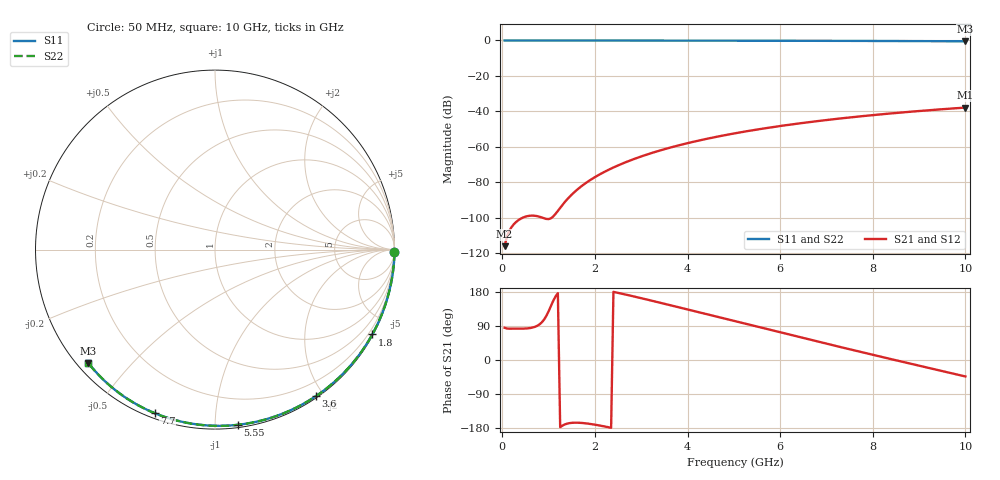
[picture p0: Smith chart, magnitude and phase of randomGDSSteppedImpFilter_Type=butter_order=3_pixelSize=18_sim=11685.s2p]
! freq	dB(S11)	phase(S11)	dB(S12)	phase(S12)
!  dB(S21)	phase(S21)	dB(S22)	phase(S22)
!S-par simulation data
#  GHz  S  DB  R 50
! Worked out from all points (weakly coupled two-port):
!   200 points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, 50 MHz to 10 GHz, reference 50 ohm
!   highest |S21| = -37.88 dB at 10 GHz (marker M1); lowest = -116.1 dB at 50 MHz (marker M2)
!   lowest |S11| = -0.5 dB at 10 GHz (marker M3), VSWR 37.05, Z = 1.55 - j19.1 ohm
!   |S11| at or under -10 dB: nowhere
!   |S22| runs from -0.5 to 0.0 dB; largest |S21 - S12| = 0
!   S11 on the Smith chart (normalised r, x): 50 MHz: open; 1.8 GHz: 0.03, -3.96; 3.6 GHz: 0.02, -1.91; 5.55 GHz: 0.02, -1.14; 7.7 GHz: 0.02, -0.70; 10 GHz: 0.03, -0.38
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0.05  -0.00 -0.8  -116.14 85.1  -116.14 85.1  -0.00 -0.8
0.45  -0.01 -7.2  -99.95 82.8  -99.95 82.8  -0.01 -7.2
0.9  -0.02 -14.3  -100.39 106.2  -100.39 106.2  -0.02 -14.3
1.75  -0.04 -27.6  -81.50 -166.5  -81.50 -166.5  -0.04 -27.6
1.8  -0.04 -28.3  -80.55 -167.1  -80.55 -167.1  -0.04 -28.3
1.85  -0.04 -29.1  -79.66 -167.9  -79.66 -167.9  -0.04 -29.1
2.05  -0.04 -32.2  -76.41 -171.7  -76.41 -171.7  -0.04 -32.2
2.25  -0.05 -35.2  -73.59 -176.4  -73.59 -176.4  -0.05 -35.2
2.55  -0.05 -39.8  -69.97 175.8  -69.97 175.8  -0.05 -39.8
2.95  -0.06 -45.8  -65.94 164.6  -65.94 164.6  -0.06 -45.8
3.4  -0.07 -52.4  -62.15 151.4  -62.15 151.4  -0.07 -52.4
3.6  -0.07 -55.4  -60.67 145.4  -60.67 145.4  -0.07 -55.4
3.9  -0.08 -59.7  -58.62 136.4  -58.62 136.4  -0.08 -59.7
4.3  -0.09 -65.4  -56.18 124.3  -56.18 124.3  -0.09 -65.4
5.05  -0.12 -75.8  -52.29 101.5  -52.29 101.5  -0.12 -75.8
5.55  -0.14 -82.6  -50.09 86.4  -50.09 86.4  -0.14 -82.6
6.1  -0.16 -89.9  -47.94 69.9  -47.94 69.9  -0.16 -89.9
6.7  -0.19 -97.7  -45.87 52.0  -45.87 52.0  -0.19 -97.7
7.7  -0.25 -110.3  -42.93 22.5  -42.93 22.5  -0.25 -110.3
8.35  -0.30 -118.3  -41.30 3.6  -41.30 3.6  -0.30 -118.3
9.2  -0.38 -128.6  -39.42 -20.7  -39.42 -20.7  -0.38 -128.6
10  -0.47 -138.2  -37.88 -43.4  -37.88 -43.4  -0.47 -138.2
